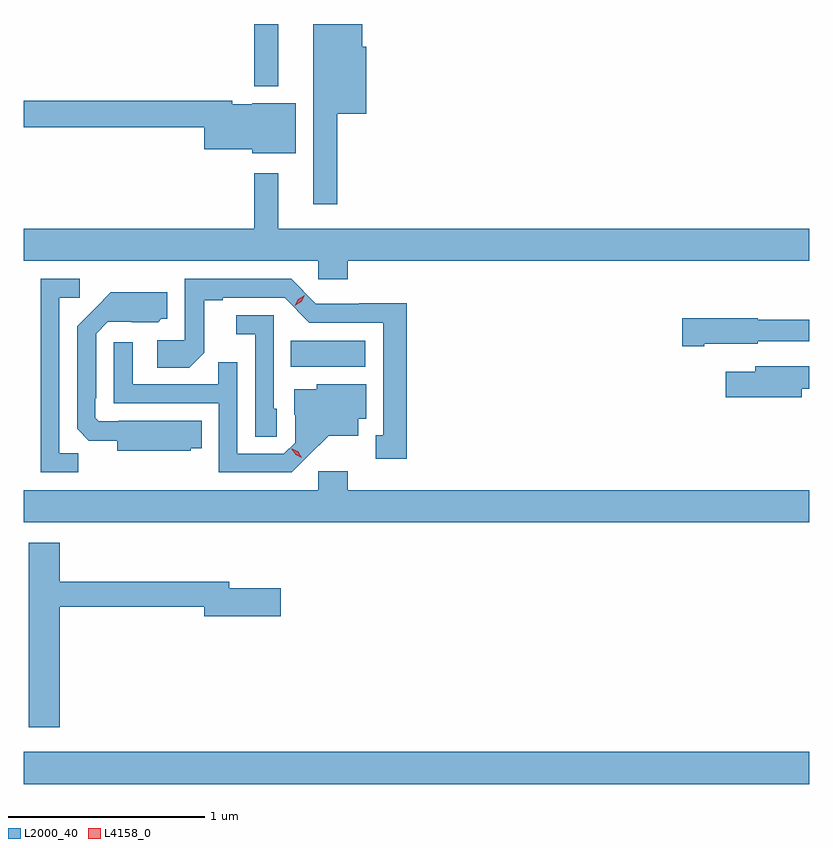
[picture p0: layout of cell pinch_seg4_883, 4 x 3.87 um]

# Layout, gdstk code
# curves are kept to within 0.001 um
import gdstk
lib = gdstk.Library(unit=1e-6, precision=1e-09)
def R(c, l, rs):  # rectangles x0, y0, x1, y1
    for r in rs: c.add(gdstk.rectangle(r[:2], r[2:], *l))
def P(c, l, *ps):  # polygons
    for p in ps: c.add(gdstk.Polygon(p, *l))
L2000_40 = (2000, 40)
L4158_0 = (4158, 0)

pinch_seg4_883 = lib.new_cell('pinch_seg4_883')
R(pinch_seg4_883, L2000_40, [(708.991,824.792,712.991,824.956), (710.35,826.916,710.731,827.05), (710.166,828.344,710.287,828.662)])
P(pinch_seg4_883, L2000_40, [(710.587,828.206),(710.734,828.206),(710.734,828.546),(710.716,828.546),(710.716,828.662),(710.465,828.662),(710.465,827.745),(710.587,827.745)],
  [(710.377,828.259),(710.154,828.259),(710.154,828.253),(710.054,828.253),(710.054,828.272),(708.991,828.272),(708.991,828.136),(709.91,828.136),(709.91,828.023),(710.154,828.023),(710.154,828.005),(710.377,828.005)],
  [(710.642,827.456),(712.991,827.456),(712.991,827.62),(710.287,827.62),(710.287,827.902),(710.166,827.902),(710.166,827.62),(708.991,827.62),(708.991,827.456),(710.49,827.456),(710.49,827.363),(710.642,827.363)],
  [(709.269,826.475),(709.173,826.475),(709.173,827.268),(709.276,827.268),(709.276,827.364),(709.077,827.364),(709.077,826.38),(709.269,826.38)],
  [(710.941,827.24),(710.7,827.24),(710.7,827.238),(710.478,827.238),(710.352,827.364),(709.812,827.364),(709.812,827.052),(709.671,827.052),(709.671,826.912),(709.835,826.912),(709.911,826.988),(709.911,827.256),(710.005,827.256),(710.005,827.268),(710.319,827.268),(710.445,827.142),(710.822,827.142),(710.822,826.569),(710.783,826.569),(710.783,826.449),(710.941,826.449)],
  [(709.842,826.502),(709.898,826.502),(709.898,826.642),(709.474,826.642),(709.474,826.638),(709.374,826.638),(709.356,826.656),(709.356,826.756),(709.359,826.756),(709.359,827.085),(709.419,827.145),(709.676,827.144),(709.692,827.16),(709.723,827.16),(709.723,827.296),(709.435,827.296),(709.263,827.122),(709.263,826.6),(709.322,826.541),(709.466,826.541),(709.466,826.49),(709.842,826.49)],
  [(710.28,826.704),(710.265,826.704),(710.265,827.178),(710.073,827.178),(710.073,827.081),(710.169,827.081),(710.169,826.561),(710.28,826.561)],
  [(712.456,827.033),(712.728,827.033),(712.728,827.046),(712.991,827.046),(712.991,827.155),(712.728,827.155),(712.728,827.163),(712.344,827.163),(712.344,827.021),(712.456,827.021)],
  [(710.44,826.463),(710.543,826.565),(710.695,826.565),(710.695,826.652),(710.734,826.652),(710.734,826.828),(710.484,826.828),(710.484,826.801),(710.369,826.801),(710.369,826.672),(710.373,826.672),(710.373,826.53),(710.316,826.473),(710.079,826.473),(710.079,826.94),(709.981,826.94),(709.981,826.827),(709.545,826.827),(709.545,827.041),(709.449,827.041),(709.449,826.731),(709.983,826.731),(709.983,826.38),(710.356,826.38)],
  [(712.954,826.804),(712.991,826.804),(712.991,826.92),(712.715,826.92),(712.715,826.891),(712.566,826.891),(712.566,826.762),(712.954,826.762)],
  [(712.991,826.288),(710.642,826.288),(710.642,826.384),(710.49,826.384),(710.49,826.288),(708.991,826.288),(708.991,826.124),(712.991,826.124)],
  [(709.175,825.694),(709.91,825.694),(709.91,825.647),(710.299,825.647),(710.299,825.789),(710.038,825.789),(710.038,825.823),(709.175,825.823),(709.175,826.021),(709.016,826.021),(709.016,825.081),(709.175,825.081)])
P(pinch_seg4_883, L4158_0, [(710.406,826.454),(710.375,826.468),(710.357,826.497),(710.357,826.498),(710.358,826.498),(710.388,826.483),(710.406,826.454),(710.406,826.454)],
  [(710.372,827.228),(710.372,827.228),(710.389,827.261),(710.421,827.28),(710.421,827.28),(710.421,827.28),(710.404,827.247),(710.372,827.228)])

lib.write_gds('pinch_seg4_883.gds')
